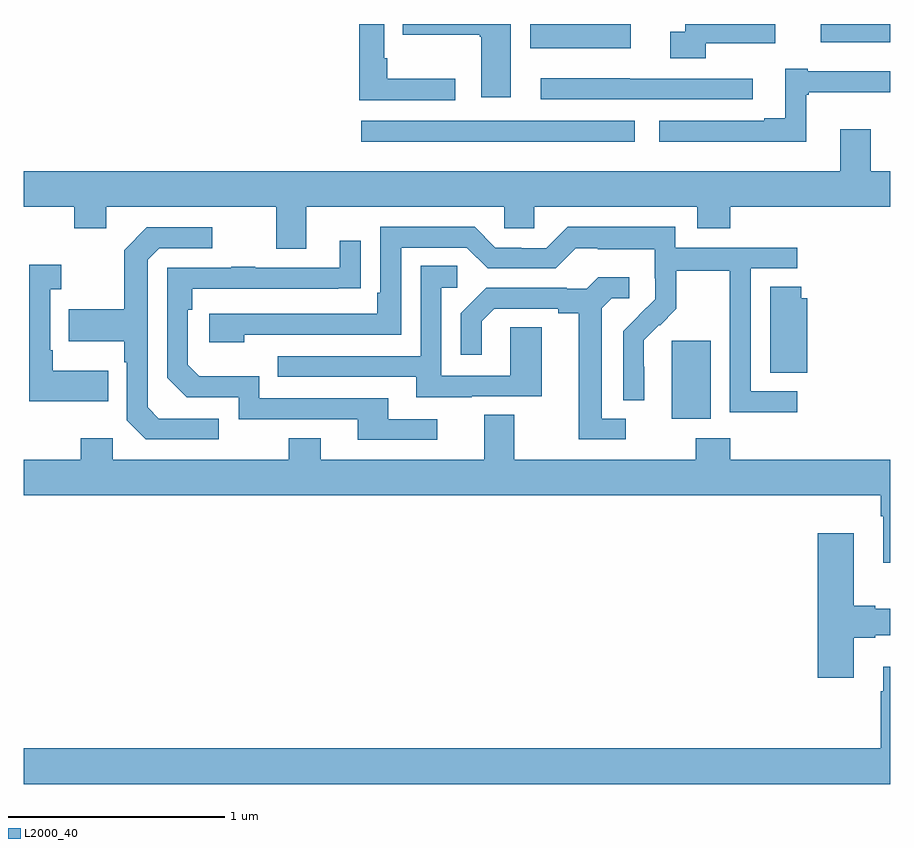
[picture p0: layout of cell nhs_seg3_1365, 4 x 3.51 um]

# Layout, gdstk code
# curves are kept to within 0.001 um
import gdstk
lib = gdstk.Library(unit=1e-6, precision=1e-09)
def R(c, l, rs):  # rectangles x0, y0, x1, y1
    for r in rs: c.add(gdstk.rectangle(r[:2], r[2:], *l))
def P(c, l, *ps):  # polygons
    for p in ps: c.add(gdstk.Polygon(p, *l))
L2000_40 = (2000, 40)

nhs_seg3_1365 = lib.new_cell('nhs_seg3_1365')
R(nhs_seg3_1365, L2000_40, [(183.992,726.578,184.171,726.939), (182.559,727.856,183.82,727.953), (183.338,728.288,183.802,728.4), (184.679,728.315,185,728.4)])
P(nhs_seg3_1365, L2000_40, [(183.247,728.4),(182.749,728.4),(182.749,728.351),(183.106,728.351),(183.106,728.34),(183.113,728.34),(183.113,728.061),(183.247,728.061)],
  [(182.992,728.147),(182.677,728.147),(182.677,728.242),(182.664,728.242),(182.664,728.4),(182.548,728.4),(182.548,728.049),(182.992,728.049)],
  [(184.149,728.312),(184.468,728.312),(184.468,728.4),(184.053,728.4),(184.053,728.365),(183.984,728.365),(183.984,728.243),(184.149,728.243)],
  [(184.612,728.073),(184.624,728.073),(184.624,728.084),(185,728.084),(185,728.182),(184.618,728.182),(184.618,728.194),(184.514,728.194),(184.514,727.966),(184.418,727.966),(184.418,727.953),(183.933,727.953),(183.933,727.856),(184.612,727.856)],
  [(184.366,728.148),(183.798,728.148),(183.798,728.149),(183.387,728.149),(183.387,728.052),(184.366,728.052)],
  [(182.305,727.556),(183.219,727.556),(183.219,727.458),(183.357,727.458),(183.357,727.556),(184.109,727.556),(184.109,727.457),(184.262,727.457),(184.262,727.556),(185,727.556),(185,727.72),(184.909,727.72),(184.909,727.915),(184.769,727.915),(184.769,727.72),(181,727.72),(181,727.556),(181.234,727.556),(181.234,727.457),(181.381,727.457),(181.381,727.556),(182.165,727.556),(182.165,727.362),(182.305,727.362)],
  [(184.57,726.705),(184.356,726.705),(184.356,727.272),(184.57,727.272),(184.57,727.368),(184.008,727.368),(184.008,727.465),(183.511,727.465),(183.411,727.365),(183.296,727.365),(183.296,727.368),(183.177,727.368),(183.081,727.464),(182.646,727.464),(182.646,727.159),(182.633,727.159),(182.633,727.062),(181.857,727.062),(181.857,726.932),(182.018,726.932),(182.018,726.966),(182.742,726.966),(182.742,727.368),(183.045,727.368),(183.141,727.272),(183.456,727.272),(183.549,727.365),(183.649,727.365),(183.649,727.361),(183.912,727.361),(183.912,727.227),(183.914,727.227),(183.914,727.13),(183.768,726.982),(183.768,726.664),(183.864,726.664),(183.863,726.941),(183.933,727.011),(183.936,727.008),(184.013,727.085),(184.013,727.26),(184.258,727.26),(184.258,727.036),(184.26,727.036),(184.26,726.607),(184.57,726.607)],
  [(181.9,726.579),(181.623,726.579),(181.572,726.63),(181.572,727.311),(181.626,727.365),(181.87,727.365),(181.87,727.461),(181.569,727.461),(181.464,727.355),(181.464,727.083),(181.207,727.083),(181.207,726.935),(181.464,726.935),(181.464,726.839),(181.476,726.839),(181.476,726.57),(181.563,726.483),(181.9,726.483)],
  [(182.908,726.576),(182.683,726.576),(182.683,726.672),(182.088,726.672),(182.088,726.775),(181.811,726.775),(181.758,726.828),(181.758,727.082),(181.778,727.082),(181.778,727.179),(182.555,727.18),(182.555,727.399),(182.459,727.399),(182.459,727.275),(182.069,727.275),(182.069,727.28),(181.957,727.28),(181.957,727.275),(181.662,727.275),(181.662,726.768),(181.752,726.678),(181.992,726.678),(181.992,726.576),(182.543,726.576),(182.543,726.48),(182.908,726.48)],
  [(181.391,726.799),(181.135,726.799),(181.135,726.895),(181.122,726.895),(181.122,727.175),(181.174,727.175),(181.174,727.288),(181.025,727.288),(181.025,726.659),(181.391,726.659)],
  [(183.067,726.681),(183.391,726.681),(183.391,727.001),(183.246,727.001),(183.246,726.777),(182.928,726.777),(182.928,727.182),(183.001,727.182),(183.001,727.283),(182.832,727.283),(182.832,726.867),(182.173,726.867),(182.173,726.771),(182.813,726.771),(182.813,726.677),(183.067,726.677)],
  [(183.778,726.579),(183.667,726.579),(183.667,727.087),(183.714,727.134),(183.796,727.134),(183.796,727.231),(183.652,727.231),(183.6,727.179),(183.506,727.179),(183.506,727.182),(183.134,727.182),(183.018,727.066),(183.018,726.873),(183.115,726.873),(183.115,727.029),(183.172,727.086),(183.467,727.086),(183.467,727.064),(183.563,727.064),(183.563,726.483),(183.778,726.483)],
  [(184.616,727.134),(184.589,727.134),(184.589,727.187),(184.445,727.187),(184.445,726.79),(184.616,726.79)],
  [(185,726.388),(184.262,726.388),(184.262,726.487),(184.102,726.487),(184.102,726.388),(183.265,726.388),(183.265,726.596),(183.125,726.596),(183.125,726.388),(182.371,726.388),(182.371,726.487),(182.224,726.487),(182.224,726.388),(181.41,726.388),(181.41,726.487),(181.264,726.487),(181.264,726.388),(181,726.388),(181,726.224),(184.955,726.224),(184.955,726.128),(184.967,726.128),(184.967,725.913),(185,725.913)],
  [(184.831,725.567),(184.931,725.567),(184.931,725.579),(185,725.579),(185,725.701),(184.931,725.701),(184.931,725.714),(184.831,725.714),(184.831,726.049),(184.664,726.049),(184.664,725.382),(184.831,725.382)],
  [(185,725.434),(184.967,725.434),(184.967,725.321),(184.955,725.321),(184.955,725.056),(181,725.056),(181,724.892),(185,724.892)])

lib.write_gds('nhs_seg3_1365.gds')
